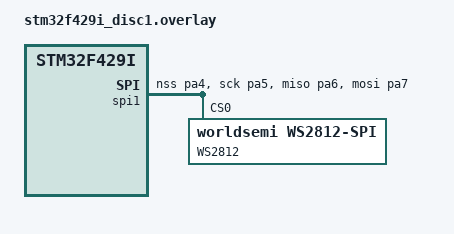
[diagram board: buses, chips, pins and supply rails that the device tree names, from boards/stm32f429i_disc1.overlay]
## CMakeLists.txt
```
# SPDX-License-Identifier: Apache-2.0

cmake_minimum_required(VERSION 3.20.0)
set(BOARD stm32f429i_disc1)

find_package(Zephyr REQUIRED HINTS $ENV{ZEPHYR_BASE})
project(feelights)

FILE(GLOB app_sources src/*.c)
target_sources(feelights PRIVATE ${app_sources})
```

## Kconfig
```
# Copyright (c) 2019 Nordic Semiconductor ASA
# SPDX-License-Identifier: Apache-2.0

# Use the SPI driver by default, unless the GPIO driver is
# specifically configured in.
config SPI
	default y

menu "Zephyr"
source "Kconfig.zephyr"
endmenu

config FEELIGHTS_STM32
  default y
  bool
  select USE_STM32_LL_ADC
  select USE_STM32_LL_DMA
  select USE_STM32_LL_GPIO
  select USE_STM32_LL_TIM

module = FEELIGHTS
module-str = FEELIGHTS
```

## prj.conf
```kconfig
CONFIG_POLL=y
CONFIG_LOG=y
CONFIG_SPI=y
CONFIG_SPI_STM32=y
CONFIG_SPI_STM32_DMA=y
CONFIG_LED_STRIP=y
CONFIG_LED_STRIP_LOG_LEVEL_DBG=y
CONFIG_WS2812_STRIP=y
CONFIG_NEWLIB_LIBC=y
CONFIG_CMSIS_DSP=y
CONFIG_CMSIS_DSP_COMPLEXMATH=y
CONFIG_CMSIS_DSP_TRANSFORM=y

CONFIG_TIMING_FUNCTIONS=n
```

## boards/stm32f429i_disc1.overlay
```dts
/*
 * Copyright (c) 2019, Nordic Semiconductor ASA
 *
 * SPDX-License-Identifier: Apache-2.0
 */

#include <dt-bindings/led/led.h>

#include "../stm32f429i-bindings.h"

&spi1 { /* MOSI on PA7 */
	led_strip: ws2812@0 {
		compatible = "worldsemi,ws2812-spi";
		label = "WS2812";

		/* SPI */
		reg = <0>; /* ignored, but necessary for SPI bindings */
		spi-max-frequency = <SPI_FREQ>;

		/* WS2812 */
		chain-length = <30>; /* arbitrary; change at will */
		color-mapping = <LED_COLOR_ID_GREEN
				 LED_COLOR_ID_RED
				 LED_COLOR_ID_BLUE>;
		spi-one-frame = <ONE_FRAME>;
		spi-zero-frame = <ZERO_FRAME>;
	};

   dmas = <&dma2 5 3 0x28440 0x03>,
          <&dma2 2 3 0x28480 0x03>;
   dma-names = "tx", "rx";

	pinctrl-0 = <&spi1_nss_pa4 &spi1_sck_pa5
		     &spi1_miso_pa6 &spi1_mosi_pa7>;
	pinctrl-names = "default";
	status = "okay";
};

&dma2 {
   status = "okay";
};

/ {
	aliases {
		led-strip = &led_strip;
		mic-dma = &dma2;
	};

};
```

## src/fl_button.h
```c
#ifndef FL_BUTTON_H__
#define FL_BUTTON_H__

#include "fl_common.h"
#include <stdbool.h>

u32 ButtonInit();

bool ButtonIsPressed();

#endif /* FL_BUTTON_H__ */
```

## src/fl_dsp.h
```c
#ifndef FL_DSP_H__
#define FL_DSP_H__

#include "fl_common.h"

u32 DspCalculateSpectrum(f32 *Input, u32 NumSamples, f32 *IntermediateBuffer, f32 *Output);

u32 DspNormalizeSamples(u16 *RawSamples, u32 NumSamples, f32 *Output);

#endif /* FL_DSP_H__ */
```

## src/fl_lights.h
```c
#ifndef FL_LIGHTS_H__
#define FL_LIGHTS_H__

#include "fl_common.h"
#include "fl_strip.h"

u32 LightsInit();

void LightsUpdateAndRender(pixel *Pixels, u32 NumPixels, f32 *Spectrum, u32 NumSamples);

#endif /* FL_LIGHTS_H__ */
```

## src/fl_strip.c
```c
#include "fl_common.h"
#include "fl_strip.h"
#include "zephyr.h"
#include "device.h"

#define LOG_LEVEL 4
#include <logging/log.h>
LOG_MODULE_REGISTER(strip);

/* LED STRIP */
#define STRIP_NODE		DT_ALIAS(led_strip)
#define STRIP_NUM_PIXELS	DT_PROP(DT_ALIAS(led_strip), chain_length)

internal const struct device *StripDevice = DEVICE_DT_GET(STRIP_NODE);

internal pixel PixelArena[STRIP_NUM_PIXELS * 2];

u32 StripInit()
{
	if (device_is_ready(StripDevice)) {
		LOG_INF("Found LED strip device %s", StripDevice->name);
	} else {
		LOG_ERR("LED strip device %s is not ready", StripDevice->name);
      /* TODO(kleindan) define errors */
		return 234;
	}

   return 0;
}

u32 StripOutput(pixel *Pixels, u32 NumOfPixels)
{
   if (NumOfPixels > STRIP_NUM_PIXELS)
   {
      NumOfPixels = STRIP_NUM_PIXELS;
   }
   int rc = led_strip_update_rgb(StripDevice, &Pixels->Color, STRIP_NUM_PIXELS);

   if (rc) {
      LOG_ERR("couldn't update strip: %d", rc);
   }

   return 0;
}

pixel* StripGetBuffer()
{
   return PixelArena;
}

pixel* StripSwapBuffer(pixel *PixelBuffer)
{
   return (PixelBuffer == PixelArena) ? PixelArena + STRIP_NUM_PIXELS : PixelArena;
}
```
